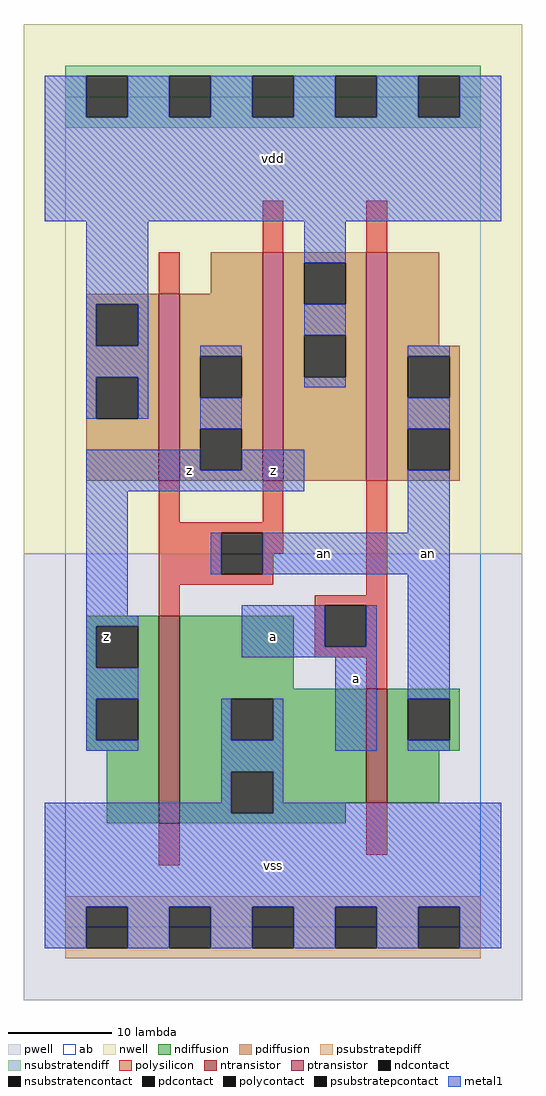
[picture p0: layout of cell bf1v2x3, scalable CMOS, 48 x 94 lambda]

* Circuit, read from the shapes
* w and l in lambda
.subckt bf1v2x3 a an vdd vss z
M1 vss an z vss nfet w=20 l=2
M2 an a vss vss nfet w=11 l=2
M3 z an vdd vdd pfet w=18 l=2
M4 vdd an z vdd pfet w=22 l=2
M5 an a vdd vdd pfet w=22 l=2
.ends

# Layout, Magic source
magic
tech scmos
<< ab >>
rect 0 0 40 80
<< pwell >>
rect -4 -7 44 36
<< nwell >>
rect -4 36 44 87
<< polysilicon >>
rect 19 65 21 70
rect 29 65 31 70
rect 9 61 11 65
rect 9 39 11 43
rect 19 39 21 43
rect 9 38 21 39
rect 9 34 15 38
rect 19 36 21 38
rect 19 34 20 36
rect 9 33 20 34
rect 9 30 11 33
rect 29 32 31 43
rect 24 31 31 32
rect 24 27 25 31
rect 29 27 31 31
rect 24 26 31 27
rect 29 23 31 26
rect 9 6 11 10
rect 29 7 31 12
<< ndiffusion >>
rect 2 29 9 30
rect 2 25 3 29
rect 7 25 9 29
rect 2 22 9 25
rect 2 18 3 22
rect 7 18 9 22
rect 2 17 9 18
rect 4 10 9 17
rect 11 23 22 30
rect 11 22 29 23
rect 11 18 16 22
rect 20 18 29 22
rect 11 15 29 18
rect 11 11 16 15
rect 20 12 29 15
rect 31 22 38 23
rect 31 18 33 22
rect 37 18 38 22
rect 31 17 38 18
rect 31 12 36 17
rect 20 11 27 12
rect 11 10 27 11
<< pdiffusion >>
rect 14 61 19 65
rect 2 60 9 61
rect 2 56 3 60
rect 7 56 9 60
rect 2 53 9 56
rect 2 49 3 53
rect 7 49 9 53
rect 2 43 9 49
rect 11 55 19 61
rect 11 51 13 55
rect 17 51 19 55
rect 11 48 19 51
rect 11 44 13 48
rect 17 44 19 48
rect 11 43 19 44
rect 21 64 29 65
rect 21 60 23 64
rect 27 60 29 64
rect 21 57 29 60
rect 21 53 23 57
rect 27 53 29 57
rect 21 43 29 53
rect 31 56 36 65
rect 31 55 38 56
rect 31 51 33 55
rect 37 51 38 55
rect 31 48 38 51
rect 31 44 33 48
rect 37 44 38 48
rect 31 43 38 44
<< metal1 >>
rect -2 78 2 82
rect 6 78 10 82
rect 14 78 18 82
rect 22 78 26 82
rect 30 78 34 82
rect 38 78 42 82
rect -2 68 42 78
rect 2 60 8 68
rect 2 56 3 60
rect 7 56 8 60
rect 23 64 27 68
rect 23 57 27 60
rect 2 53 8 56
rect 2 49 3 53
rect 7 49 8 53
rect 13 55 17 56
rect 23 52 27 53
rect 33 55 37 56
rect 13 48 17 51
rect 2 44 13 46
rect 33 48 37 51
rect 17 44 23 46
rect 2 42 23 44
rect 2 30 6 42
rect 33 38 37 44
rect 14 34 15 38
rect 19 34 37 38
rect 2 29 7 30
rect 2 25 3 29
rect 17 27 25 31
rect 29 27 30 31
rect 17 26 30 27
rect 2 22 7 25
rect 2 18 3 22
rect 2 17 7 18
rect 15 18 16 22
rect 20 18 21 22
rect 15 15 21 18
rect 26 17 30 26
rect 33 22 37 34
rect 33 17 37 18
rect 15 12 16 15
rect -2 11 16 12
rect 20 12 21 15
rect 20 11 42 12
rect -2 2 42 11
rect -2 -2 2 2
rect 6 -2 10 2
rect 14 -2 18 2
rect 22 -2 26 2
rect 30 -2 34 2
rect 38 -2 42 2
<< ntransistor >>
rect 9 10 11 30
rect 29 12 31 23
<< ptransistor >>
rect 9 43 11 61
rect 19 43 21 65
rect 29 43 31 65
<< polycontact >>
rect 15 34 19 38
rect 25 27 29 31
<< ndcontact >>
rect 3 25 7 29
rect 3 18 7 22
rect 16 18 20 22
rect 16 11 20 15
rect 33 18 37 22
<< pdcontact >>
rect 3 56 7 60
rect 3 49 7 53
rect 13 51 17 55
rect 13 44 17 48
rect 23 60 27 64
rect 23 53 27 57
rect 33 51 37 55
rect 33 44 37 48
<< psubstratepcontact >>
rect 2 -2 6 2
rect 10 -2 14 2
rect 18 -2 22 2
rect 26 -2 30 2
rect 34 -2 38 2
<< nsubstratencontact >>
rect 2 78 6 82
rect 10 78 14 82
rect 18 78 22 82
rect 26 78 30 82
rect 34 78 38 82
<< psubstratepdiff >>
rect 0 2 40 3
rect 0 -2 2 2
rect 6 -2 10 2
rect 14 -2 18 2
rect 22 -2 26 2
rect 30 -2 34 2
rect 38 -2 40 2
rect 0 -3 40 -2
<< nsubstratendiff >>
rect 0 82 40 83
rect 0 78 2 82
rect 6 78 10 82
rect 14 78 18 82
rect 22 78 26 82
rect 30 78 34 82
rect 38 78 40 82
rect 0 77 40 78
<< labels >>
rlabel ndcontact 4 28 4 28 6 z
rlabel metal1 12 44 12 44 6 z
rlabel metal1 20 6 20 6 6 vss
rlabel metal1 20 28 20 28 6 a
rlabel metal1 28 24 28 24 6 a
rlabel metal1 20 44 20 44 6 z
rlabel metal1 20 74 20 74 6 vdd
rlabel metal1 25 36 25 36 6 an
rlabel metal1 35 36 35 36 6 an
<< end >>
